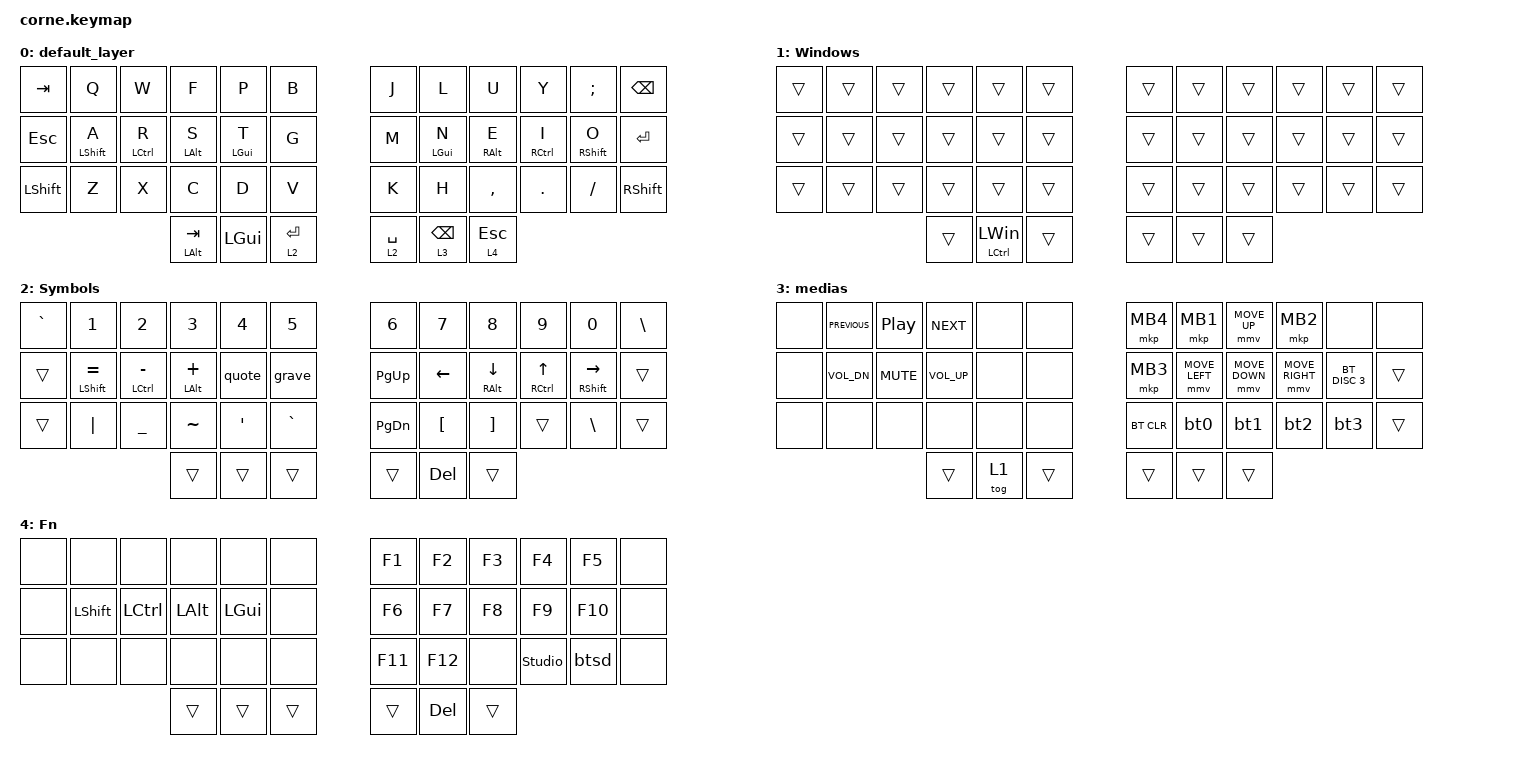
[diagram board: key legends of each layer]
/*
 * Copyright (c) 2020 The ZMK Contributors
 *
 * SPDX-License-Identifier: MIT
 */

#include <behaviors.dtsi>
#include <dt-bindings/zmk/bt.h>
#include <dt-bindings/zmk/keys.h>

#define ZMK_POINTING_DEFAULT_MOVE_VAL 1500  // default: 600
#define ZMK_POINTING_DEFAULT_SCRL_VAL 20    // default: 10
#include <dt-bindings/zmk/pointing.h>

&mt {
    quick-tap-ms = <400>;
    flavor = "tap-preferred";
};

&soft_off {
    hold-time-ms = <3000>; // Only turn off it the key is held for 3 seconds or longer.
};

/ {
    kscan: kscan {
        compatible = "zmk,kscan-gpio-matrix";
        diode-direction = "col2row";
        wakeup-source;
    };
    macros {
        grave: grave {
            compatible = "zmk,behavior-macro";
            #binding-cells = <0>;
            bindings = <&kp GRAVE &kp SPACE>;
            label = "GRAVE";
        };

        quote: quote {
            compatible = "zmk,behavior-macro";
            #binding-cells = <0>;
            bindings = <&kp SQT &kp SPACE>;
            label = "QUOTE";
        };

        bt0: bt0 {
            compatible = "zmk,behavior-macro";
            #binding-cells = <0>;
            bindings = <&bt BT_SEL 0 &bt BT_DISC 1 &bt BT_DISC 2 &bt BT_DISC 3>;
            // bindings = <&bt BT_PRV &bt BT_DISC 0 &bt BT_DISC 1 &bt BT_DISC 2 &bt BT_DISC 3 &bt BT_DISC 4>;
            label = "BT0";
        };

        bt1: bt1 {
            compatible = "zmk,behavior-macro";
            #binding-cells = <0>;
            bindings = <&bt BT_SEL 1 &bt BT_DISC 0 &bt BT_DISC 2 &bt BT_DISC 3>;
            // bindings = <&bt BT_NXT &bt BT_DISC 0 &bt BT_DISC 1 &bt BT_DISC 2 &bt BT_DISC 3 &bt BT_DISC 4>;
            label = "BT1";
        };

        bt2: bt2 {
            compatible = "zmk,behavior-macro";
            #binding-cells = <0>;
            bindings = <&bt BT_SEL 2 &bt BT_DISC 0 &bt BT_DISC 1 &bt BT_DISC 3>;
            label = "BT2";
        };

        bt3: bt3 {
            compatible = "zmk,behavior-macro";
            #binding-cells = <0>;
            bindings = <&bt BT_SEL 3 &bt BT_DISC 0 &bt BT_DISC 1 &bt BT_DISC 2>;
            label = "BT3";
        };

        btsd: btsd {
            compatible = "zmk,behavior-macro";
            #binding-cells = <0>;
            bindings = <&bt BT_DISC 0 &bt BT_DISC 1 &bt BT_DISC 2 &bt BT_DISC 3 &bt BT_DISC 4>;
            label = "BTSD";
        };
    };

    keymap {
        compatible = "zmk,keymap";

        default_layer {
            // -----------------------------------------------------------------------------------------
            // |  TAB |  Q  |  W  |  E  |  R  |  T  |   |  Y  |  U   |  I  |  O  |  P  | BKSP |
            // | CTRL |  A  |  S  |  D  |  F  |  G  |   |  H  |  J   |  K  |  L  |  ;  |  '   |
            // | SHFT |  Z  |  X  |  C  |  V  |  B  |   |  N  |  M   |  ,  |  .  |  /  | ESC  |
            //                    | GUI | LWR | SPC |   | ENT | RSE  | ALT |

            bindings = <
&kp TAB    &kp Q             &kp W        &kp F             &kp P           &kp B          &kp J        &kp L            &kp U            &kp Y        &kp SEMICOLON      &kp BSPC
&kp ESC    &mt LEFT_SHIFT A  &mt LCTRL R  &mt LEFT_ALT S    &mt LEFT_GUI T  &kp G          &kp M        &mt LEFT_GUI N   &mt RIGHT_ALT E  &mt RCTRL I  &mt RIGHT_SHIFT O  &kp ENTER
&kp LSHFT  &kp Z             &kp X        &kp C             &kp D           &kp V          &kp K        &kp H            &kp COMMA        &kp DOT      &kp FSLH           &kp RIGHT_SHIFT
                                          &mt LEFT_ALT TAB  &kp LEFT_GUI    &lt 2 ENTER    &lt 2 SPACE  &lt 3 BACKSPACE  &lt 4 ESC
            >;
        };

        Windows {
            bindings = <
&trans  &trans  &trans  &trans  &trans              &trans    &trans  &trans  &trans  &trans  &trans  &trans
&trans  &trans  &trans  &trans  &trans              &trans    &trans  &trans  &trans  &trans  &trans  &trans
&trans  &trans  &trans  &trans  &trans              &trans    &trans  &trans  &trans  &trans  &trans  &trans
                        &trans  &mt LCTRL LEFT_WIN  &trans    &trans  &trans  &trans
            >;
        };

        Symbols {
            // -----------------------------------------------------------------------------------------
            // |  TAB |  1  |  2  |  3  |  4  |  5  |   |  6  |  7  |  8  |  9  |  0  | BKSP |
            // | BTCLR| BT1 | BT2 | BT3 | BT4 | BT5 |   | LFT | DWN |  UP | RGT |     |      |
            // | SHFT |     |     |     |     |     |   |     |     |     |     |     |      |
            //                    | GUI |     | SPC |   | ENT |     | ALT |

            bindings = <
&kp GRAVE  &kp N1                &kp N2           &kp N3             &kp N4   &kp N5       &kp N6         &kp N7            &kp N8              &kp N9        &kp N0                 &kp BACKSLASH
&trans     &mt LEFT_SHIFT EQUAL  &mt LCTRL MINUS  &mt LEFT_ALT PLUS  &quote   &grave       &kp PAGE_UP    &kp LEFT          &mt RIGHT_ALT DOWN  &mt RCTRL UP  &mt RIGHT_SHIFT RIGHT  &trans
&trans     &kp PIPE              &kp UNDERSCORE   &kp TILDE          &kp SQT  &kp GRAVE    &kp PAGE_DOWN  &kp LEFT_BRACKET  &kp RIGHT_BRACKET   &trans        &kp BACKSLASH          &trans
                                                  &trans             &trans   &trans       &trans         &kp DELETE        &trans
            >;
        };

        medias {
            // -----------------------------------------------------------------------------------------
            // |  TAB |  !  |  @  |  #  |  $  |  %  |   |  ^  |  &  |  *  |  (  |  )  | BKSP |F
            // | CTRL |     |     |     |     |     |   |  -  |  =  |  [  |  ]  |  \  |  `   |
            // | SHFT |     |     |     |     |     |   |  _  |  +  |  {  |  }  | "|" |  ~   |
            //                    | GUI |     | SPC |   | ENT |     | ALT |

            bindings = <
&none  &kp C_PREVIOUS  &kp C_PLAY_PAUSE  &kp C_NEXT      &none   &none     &mkp MB4       &mkp MB1        &mmv MOVE_UP    &mkp MB2         &none          &none
&none  &kp C_VOL_DN    &kp K_MUTE        &kp C_VOL_UP    &none   &none     &mkp MB3       &mmv MOVE_LEFT  &mmv MOVE_DOWN  &mmv MOVE_RIGHT  &bt BT_DISC 3  &trans
&none  &none           &none             &none       &none   &none     &bt BT_CLR  &bt0           &bt1           &bt2   &bt3   &trans
                                         &trans      &tog 1  &trans    &trans      &trans         &trans
            >;
        };

        Fn {
            bindings = <
&none  &none       &none      &none         &none         &none     &kp F1   &kp F2      &kp F3  &kp F4  &kp F5       &none
&none  &kp LEFT_SHIFT  &kp LCTRL  &kp LEFT_ALT  &kp LEFT_GUI  &none     &kp F6   &kp F7      &kp F8  &kp F9  &kp F10      &none
&none  &none           &none      &none         &none         &none     &kp F11  &kp F12     &none   &studio_unlock   &btsd    &none
                                  &trans        &trans        &trans    &trans   &kp DELETE  &trans
            >;
        };
    };
};
